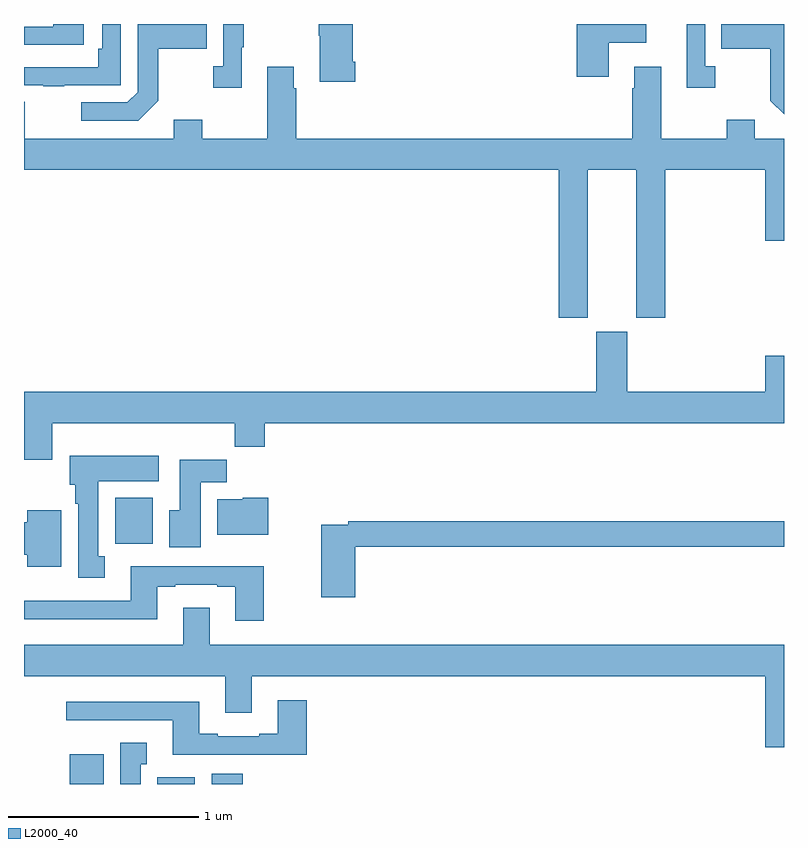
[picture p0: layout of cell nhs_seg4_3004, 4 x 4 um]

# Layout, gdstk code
import gdstk
lib = gdstk.Library(unit=1e-6, precision=1e-09)
def R(c, l, rs):  # rectangles x0, y0, x1, y1
    for r in rs: c.add(gdstk.rectangle(r[:2], r[2:], *l))
def P(c, l, *ps):  # polygons
    for p in ps: c.add(gdstk.Polygon(p, *l))
L2000_40 = (2000, 40)

nhs_seg4_3004 = lib.new_cell('nhs_seg4_3004')
R(nhs_seg4_3004, L2000_40, [(269.24,814.9,269.419,815.056), (269.702,814.9,269.899,814.936), (269.987,814.9,270.151,814.954), (269.48,816.164,269.677,816.406)])
P(nhs_seg4_3004, L2000_40, [(272.638,818.678),(272.586,818.678),(272.586,818.9),(272.489,818.9),(272.489,818.565),(272.638,818.565)],
  [(269.707,818.497),(269.707,818.77),(269.963,818.77),(269.963,818.9),(269.598,818.9),(269.598,818.541),(269.544,818.487),(269.301,818.487),(269.301,818.391),(269.601,818.391)],
  [(272.077,818.801),(272.275,818.801),(272.275,818.9),(271.91,818.9),(271.91,818.622),(272.077,818.622)],
  [(270.743,818.701),(270.73,818.701),(270.73,818.9),(270.55,818.9),(270.55,818.837),(270.557,818.837),(270.557,818.597),(270.743,818.597)],
  [(273,818.9),(272.671,818.9),(272.671,818.77),(272.928,818.77),(272.928,818.497),(273,818.424)],
  [(269.314,818.9),(269.153,818.9),(269.153,818.886),(269,818.886),(269,818.79),(269.314,818.79)],
  [(269.213,818.577),(269.508,818.577),(269.508,818.9),(269.412,818.9),(269.412,818.77),(269.392,818.77),(269.392,818.673),(269,818.673),(269,818.577),(269.101,818.577),(269.101,818.572),(269.213,818.572)],
  [(270.145,818.777),(270.157,818.777),(270.157,818.9),(270.048,818.9),(270.048,818.678),(269.997,818.678),(269.997,818.565),(270.145,818.565)],
  [(271.966,818.132),(272.222,818.132),(272.222,817.353),(272.375,817.353),(272.375,818.132),(272.9,818.132),(272.9,817.758),(273,817.758),(273,818.296),(272.845,818.296),(272.845,818.395),(272.698,818.395),(272.698,818.296),(272.353,818.296),(272.353,818.674),(272.213,818.674),(272.213,818.561),(272.201,818.561),(272.201,818.296),(270.434,818.296),(270.434,818.561),(270.421,818.561),(270.421,818.674),(270.281,818.674),(270.281,818.296),(269.937,818.296),(269.937,818.395),(269.789,818.395),(269.789,818.296),(269.005,818.296),(269.005,818.491),(269,818.491),(269,818.132),(271.814,818.132),(271.814,817.353),(271.966,817.353)],
  [(269.149,816.8),(270.109,816.8),(270.109,816.676),(270.266,816.676),(270.266,816.8),(273,816.8),(273,817.153),(272.9,817.153),(272.9,816.964),(272.176,816.964),(272.176,817.281),(272.012,817.281),(272.012,816.964),(269,816.964),(269,816.606),(269.149,816.606)],
  [(269.425,816.098),(269.392,816.098),(269.392,816.494),(269.71,816.494),(269.71,816.628),(269.24,816.628),(269.24,816.474),(269.27,816.474),(269.27,816.374),(269.285,816.374),(269.285,815.985),(269.425,815.985)],
  [(269.929,816.488),(270.068,816.488),(270.068,816.607),(269.819,816.607),(269.819,816.34),(269.765,816.34),(269.765,816.147),(269.929,816.147)],
  [(270.286,816.406),(270.15,816.406),(270.15,816.4),(270.017,816.4),(270.017,816.212),(270.286,816.212)],
  [(269.197,816.34),(269.018,816.34),(269.018,816.278),(269,816.278),(269,816.106),(269.018,816.106),(269.018,816.044),(269.197,816.044)],
  [(270.743,816.148),(273,816.148),(273,816.284),(270.706,816.284),(270.706,816.264),(270.565,816.264),(270.565,815.883),(270.743,815.883)],
  [(270.261,816.046),(270.025,816.046),(270.025,816.045),(269.561,816.045),(269.561,815.865),(269.001,815.865),(269.001,815.768),(269.701,815.768),(269.701,815.937),(269.797,815.937),(269.797,815.949),(270.017,815.949),(270.017,815.937),(270.113,815.937),(270.113,815.76),(270.261,815.76)],
  [(269.977,815.827),(269.837,815.827),(269.837,815.632),(269,815.632),(269,815.468),(270.059,815.468),(270.059,815.274),(270.199,815.274),(270.199,815.468),(272.9,815.468),(272.9,815.094),(273,815.094),(273,815.632),(269.977,815.632)],
  [(270.488,815.341),(270.335,815.341),(270.335,815.164),(270.239,815.164),(270.239,815.151),(270.019,815.151),(270.019,815.164),(269.923,815.164),(269.923,815.332),(269.223,815.332),(269.223,815.235),(269.783,815.235),(269.783,815.055),(270.247,815.055),(270.247,815.054),(270.488,815.054)],
  [(269.614,815.003),(269.647,815.003),(269.647,815.116),(269.507,815.116),(269.507,814.9),(269.614,814.9)])

lib.write_gds('nhs_seg4_3004.gds')
